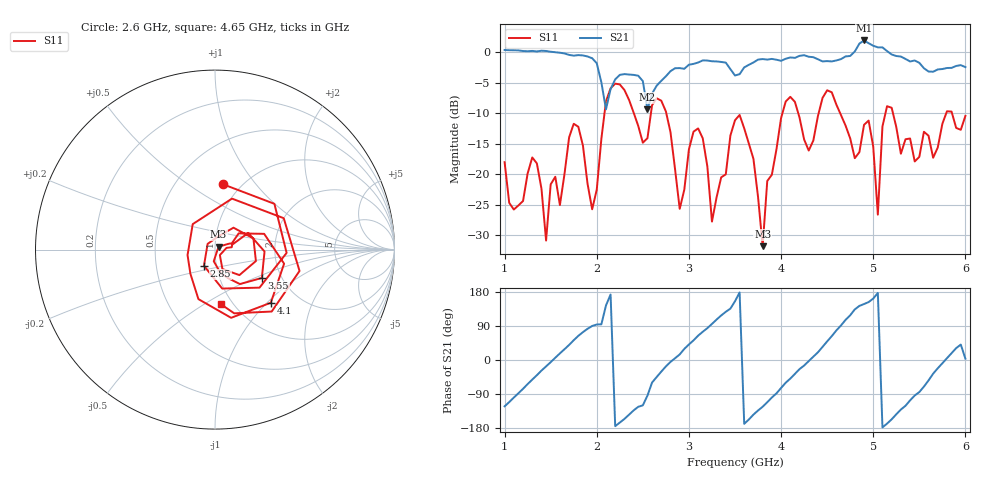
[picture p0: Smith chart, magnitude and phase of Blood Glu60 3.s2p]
! NanoVNA-App
! Date: 2024-03-20 20:38:35
! Start: 1GHz Stop: 6GHz Points: 101
! S-Parameter data: F S11 S21 S12 S22
# Hz S RI R 50
!	Frequency	S11_Real	S11_Imag	S21_Real	S21_Imag	S12_Real	S12_Imag	S22_Real	S22_Imag
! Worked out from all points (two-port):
!   101 points, 1 GHz to 6 GHz, reference 50 ohm
!   highest |S21| = 1.89 dB at 4.9 GHz (marker M1); lowest = -9.4 dB at 2.55 GHz (marker M2)
!   |S21| within 3 dB of the highest: start of sweep to 1.955 GHz; 4.656 GHz to 5.347 GHz (690.2 MHz wide, 13.8 % of centre)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
!   lowest |S11| = -31.8 dB at 3.8 GHz (marker M3), VSWR 1.05, Z = 52 + j1.7 ohm
!   |S11| at or under -10 dB: start of sweep to 2.084 GHz; 2.754 GHz to 4.015 GHz (1.261 GHz wide, 37.3 % of centre); 5.214 GHz to 5.793 GHz (579.1 MHz wide, 10.5 % of centre)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
!   S12 and S22 are empty: the file has one direction only
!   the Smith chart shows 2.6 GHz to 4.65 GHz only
!   S11 on the Smith chart (normalised r, x): 2.6 GHz: 0.83, +0.70; 2.85 GHz: 0.87, -0.16; 3.55 GHz: 1.59, -0.55; 4.1 GHz: 1.45, -1.05; 4.65 GHz: 0.88, -0.59
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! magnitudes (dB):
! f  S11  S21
! 1 GHz  -18.0  0.3
! 1.35 GHz  -18.2  0.1
! 1.45 GHz  -30.9  0.2
! 1.85 GHz  -15.3  -0.6
! 1.95 GHz  -25.8  -1.0
! 2.15 GHz  -6.0  -6.1
! 2.55 GHz  -14.1  -9.4
! 2.6 GHz  -8.7  -6.8
! 2.7 GHz  -8.0  -4.7
! 2.85 GHz  -19.3  -2.7
! 3.1 GHz  -12.5  -1.7
! 3.25 GHz  -27.8  -1.5
! 3.5 GHz  -11.2  -3.8
! 3.55 GHz  -10.3  -3.6
! 3.8 GHz  -31.8  -1.2
! 4.1 GHz  -7.3  -0.9
! 4.35 GHz  -14.5  -0.9
! 4.65 GHz  -10.3  -1.2
! 4.9 GHz  -11.9  1.9
! 5.05 GHz  -26.6  0.8
! 5.2 GHz  -9.1  -0.4
! 6 GHz  -10.5  -2.5
